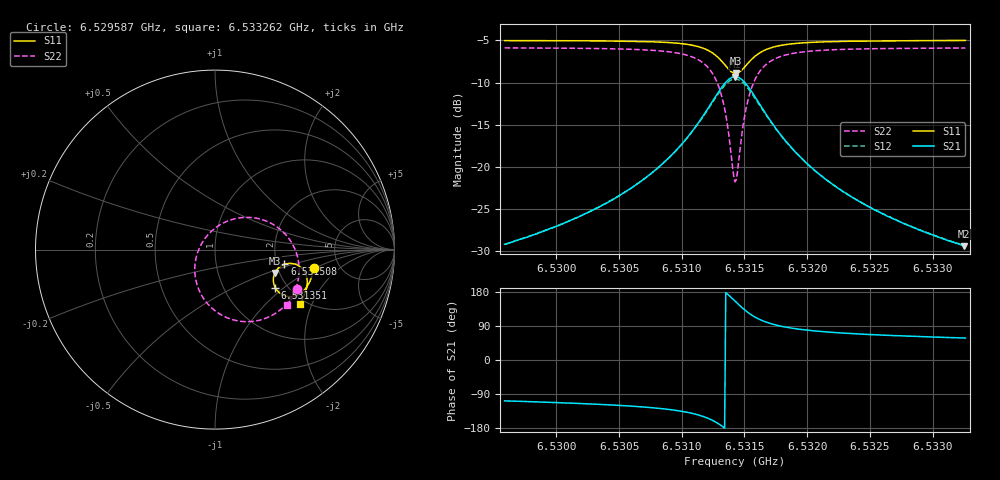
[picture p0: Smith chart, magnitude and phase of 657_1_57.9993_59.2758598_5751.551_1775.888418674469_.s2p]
#  HZ  S  RI  R  50.00
! Rohde & Schwarz Vector Network Analyzer
! Rohde-Schwarz,ZNB20-2Port,1311601062101988,3.16
! Created: UTC 3/21/2024, 1:19:47 AM
! freq[Hz]  re:S11  im:S11  re:S21  im:S21  re:S12  im:S12  re:S22  im:S22
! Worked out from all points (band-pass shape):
!   401 points, 6.529587 GHz to 6.533262 GHz, reference 50 ohm
!   highest |S21| = -9.31 dB at 6.531425 GHz (marker M1); lowest = -29.4 dB at 6.533253 GHz (marker M2)
!   |S21| within 3 dB of the highest: 6.531243 GHz to 6.53161 GHz (367.2 kHz wide, 0.00562 % of centre)
!   lowest |S11| = -8.9 dB at 6.531434 GHz (marker M3), VSWR 2.12, Z = 94.5 - j28.2 ohm
!   |S11| at or under -10 dB: nowhere
!   |S22| runs from -21.8 to -5.9 dB; largest |S21 - S12| = 0.015
!   S11 on the Smith chart (normalised r, x): 6.529587 GHz: 3.25, -0.95; 6.531351 GHz: 1.73, -0.87; 6.531508 GHz: 2.20, -0.43; 6.533262 GHz: 1.84, -1.64
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6.5295875e9  0.5514 -0.1  -0.0106 -0.033  -0.0115 -0.0328  0.4586 -0.2174
6.530203e9  0.538 -0.1522  -0.0218 -0.0466  -0.023 -0.0461  0.4224 -0.2757
6.5305245e9  0.5257 -0.1831  -0.0348 -0.0596  -0.0364 -0.0586  0.3882 -0.3145
6.5308185e9  0.5055 -0.2164  -0.0609 -0.0789  -0.0633 -0.0772  0.3297 -0.3596
6.531039e9  0.4731 -0.2461  -0.1091 -0.0991  -0.1119 -0.095  0.2338 -0.3963
6.5311952e9  0.4221 -0.2619  -0.1883 -0.1005  -0.1901 -0.0923  0.0905 -0.3881
6.5312871e9  0.3716 -0.2492  -0.2659 -0.0621  -0.2633 -0.0506  -0.0358 -0.3077
6.5313238e9  0.3496 -0.2315  -0.2981 -0.0255  -0.292 -0.0139  -0.0825 -0.2403
6.5313514e9  0.3356 -0.2119  -0.3171 0.0123  -0.308 0.0231  -0.1059 -0.1737
6.5314065e9  0.3256 -0.1583  -0.3228 0.1086  -0.3096 0.114  -0.0966 -0.015
6.5314249e9  0.3299 -0.1392  -0.3119 0.1416  -0.2985 0.1444  -0.0727 0.0365
6.531434e9  0.3335 -0.1301  -0.304 0.1573  -0.2907 0.159  -0.0572 0.0604
6.5314708e9  0.3564 -0.0995  -0.2596 0.2087  -0.2481 0.2061  0.0244 0.136
6.5315075e9  0.3867 -0.0817  -0.2045 0.2375  -0.1962 0.2332  0.1198 0.1738
6.5315719e9  0.4372 -0.0786  -0.1167 0.2422  -0.1127 0.2378  0.2666 0.1658
6.5316637e9  0.4821 -0.1024  -0.0407 0.2058  -0.039 0.2034  0.389 0.0884
6.5318015e9  0.5076 -0.1421  0.00391 0.1505  0.0051 0.1496  0.4542 -0.0209
6.5320404e9  0.5138 -0.1895  0.0215 0.0958  0.0225 0.0952  0.4681 -0.1327
6.532316e9  0.5075 -0.2254  0.023 0.0651  0.0241 0.0647  0.4558 -0.2008
6.5326559e9  0.4958 -0.2584  0.0214 0.0457  0.0222 0.0454  0.4359 -0.2516
6.5332531e9  0.4719 -0.3048  0.0179 0.0287  0.0186 0.0284  0.4018 -0.3088
6.5332622e9  0.4714 -0.3056  0.0179 0.0287  0.0185 0.0282  0.4012 -0.3095
